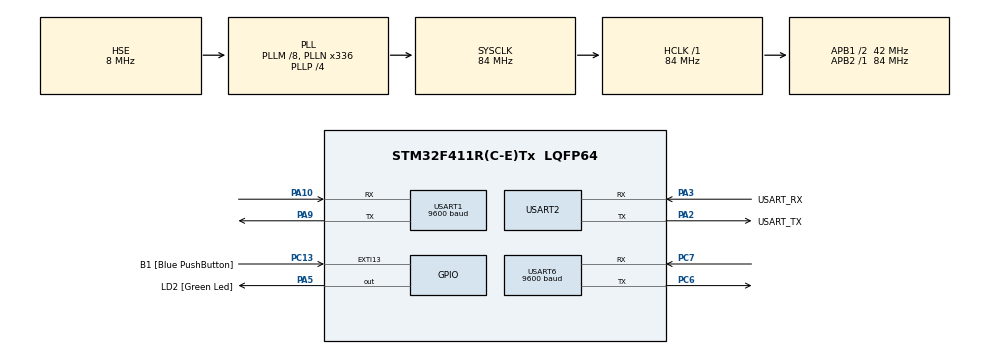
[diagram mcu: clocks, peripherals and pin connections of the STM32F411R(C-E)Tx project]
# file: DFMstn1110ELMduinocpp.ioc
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Mcu.Family=STM32F4
Mcu.Name=STM32F411R(C-E)Tx
Mcu.Package=LQFP64
NVIC.PriorityGroup=NVIC_PRIORITYGROUP_0
NVIC.USART6_IRQn=true\:0\:0\:false\:false\:true\:true\:true
PA10.Mode=Asynchronous
PA10.Signal=USART1_RX
PA13.GPIO_Label=TMS
PA13.Mode=Serial_Wire
PA13.Signal=SYS_JTMS-SWDIO
PA14.GPIO_Label=TCK
PA14.Mode=Serial_Wire
PA14.Signal=SYS_JTCK-SWCLK
PA2.GPIO_Label=USART_TX
PA2.Mode=Asynchronous
PA2.Signal=USART2_TX
PA3.GPIO_Label=USART_RX
PA3.Mode=Asynchronous
PA3.Signal=USART2_RX
PA5.GPIO_Label=LD2 [Green Led]
PA5.Signal=GPIO_Output
PA9.Mode=Asynchronous
PA9.Signal=USART1_TX
PB3.GPIO_Label=SWO
PB3.Signal=SYS_JTDO-SWO
PC13-ANTI_TAMP.GPIO_Label=B1 [Blue PushButton]
PC13-ANTI_TAMP.GPIO_ModeDefaultEXTI=GPIO_MODE_IT_FALLING
PC13-ANTI_TAMP.Signal=GPXTI13
PC14-OSC32_IN.Mode=LSE-External-Oscillator
PC14-OSC32_IN.Signal=RCC_OSC32_IN
PC15-OSC32_OUT.Mode=LSE-External-Oscillator
PC15-OSC32_OUT.Signal=RCC_OSC32_OUT
PC6.Mode=Asynchronous
PC6.Signal=USART6_TX
PC7.Mode=Asynchronous
PC7.Signal=USART6_RX
PH0\ -\ OSC_IN.Mode=HSE-External-Clock-Source
PH0\ -\ OSC_IN.Signal=RCC_OSC_IN
PH1\ -\ OSC_OUT.Mode=HSE-External-Clock-Source
PH1\ -\ OSC_OUT.Signal=RCC_OSC_OUT
ProjectManager.HeapSize=0x200
ProjectManager.StackSize=0x400
ProjectManager.TargetToolchain=STM32CubeIDE
RCC.48MHZClocksFreq_Value=84000000
RCC.AHBFreq_Value=84000000
RCC.APB1CLKDivider=RCC_HCLK_DIV2
RCC.APB1Freq_Value=42000000
RCC.APB1TimFreq_Value=84000000
RCC.APB2Freq_Value=84000000
RCC.APB2TimFreq_Value=84000000
RCC.CortexFreq_Value=84000000
RCC.FLatency-AdvancedSettings=FLASH_LATENCY_2
RCC.HCLKFreq_Value=84000000
RCC.HSE_VALUE=8000000
RCC.HSI_VALUE=16000000
RCC.PLLM=8
RCC.PLLN=336
RCC.PLLP=RCC_PLLP_DIV4
RCC.PLLSourceVirtual=RCC_PLLSOURCE_HSE
RCC.SYSCLKFreq_VALUE=84000000
RCC.SYSCLKSource=RCC_SYSCLKSOURCE_PLLCLK
RCC.VCOOutputFreq_Value=336000000
USART1.BaudRate=9600
USART1.VirtualMode=VM_ASYNC
USART2.VirtualMode=VM_ASYNC
USART6.BaudRate=9600
USART6.VirtualMode=VM_ASYNC
board=NUCLEO-F411RE

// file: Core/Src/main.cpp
/* USER CODE BEGIN Header */
/**
  ******************************************************************************
  * @file           : main.c
  * @brief          : Main program body
  ******************************************************************************
  * @attention
  *
  * <h2><center>&copy; Copyright (c) 2021 STMicroelectronics.
  * All rights reserved.</center></h2>
  *
  * This software component is licensed by ST under BSD 3-Clause license,
  * the "License"; You may not use this file except in compliance with the
  * License. You may obtain a copy of the License at:
  *                        opensource.org/licenses/BSD-3-Clause
  *
  ******************************************************************************
  */
/* USER CODE END Header */
#include "main.h"
#include "usart.h"
#include "gpio.h"

/* USER CODE BEGIN Includes */
#include "stn1110.h"
/* USER CODE END Includes */

/* USER CODE BEGIN PD */
#define cur_myELM327_STATUS curS;
#define pre_myELM327_STATUS preS;
/* USER CODE END PD */

/* USER CODE BEGIN PV */
UART_HandleTypeDef huart2;
UART_HandleTypeDef huart6;
STN1110 stn;
/* USER CODE END PV */

void SystemClock_Config(void);
/* USER CODE BEGIN PFP */
void HAL_UART_RxCpltCallback(UART_HandleTypeDef *huart)  //UART에 수신인터럽트 일어나면 이놈이 호출됨
{
 if (huart->Instance == USART6) //current UART
  {
	 stn.push(stn.rxData);
	 stn.rxFlag = true;
  }
 	 HAL_UART_Receive_IT(&huart6, &stn.rxData, 1); //다음 수신인터럽트를 준비
 }

/* USER CODE END PFP */

/* USER CODE BEGIN 0 */
uint32_t rpm = 0;
uint32_t motorrpm = 0;
uint32_t kph = 0;
uint32_t engineLoad = 0;
uint16_t runTime = 0;
uint8_t fuelType = 0;
int32_t oilTemp = 0;
uint32_t relativePedalPos = 0;
uint32_t throttle = 0;
uint32_t relativeThrottle = 0;
int32_t intakeAirTemp = 0;
uint32_t fuelLevel = 0;
float mafRate = 0; // uint32_t
uint8_t obdStandards = 0;
uint16_t distTravelWithMIL = 0;
uint16_t distSinceCodesCleared = 0;
uint32_t ctrlModVoltage = 0;
int16_t ambientAirTemp = 0;
uint32_t manifoldPressure = 0;
int32_t engineCoolantTemp = 0;
float commandedThrottleActuator = 0;
float commandedAirFuelRatio = 0.0; //stn1110 Data Variables

static uint32_t counter_AccelYp;
static uint32_t counter_Fuel;
static uint32_t counter_Energy;
static uint32_t counter_Rpm;
static uint32_t counter_MotorRpm;
static float efficiencyScore;
static uint32_t counter_AccelX;
static uint32_t counter_AccelYm;
static uint32_t counter_AccelYm2;
static uint32_t counter_Time;
static uint32_t counter_KphRpm;
static uint32_t counter_KphMotorRpm;
static uint32_t counter_Throttle;
static float safetyScore;
static float drivingScore = 10.0;
static float averagedrivingScore = 10.0;
static int counter_N1 = 1;
static int counter_N2 = 1;
static int counter_N3 = 1;
static int counter_N4 = 1;
static int counter_Idle = 0;

static float AFR = 14.70;

float pre_f_accelX;
float pre_f_accelY;
float pre_instantFuelConsume;
float pre_instantEnergyConsume;
uint32_t pre_rpm;
uint32_t pre_motorrpm;
uint32_t pre_runTime;
int32_t pre_kph;
float pre_commandedThrottleActuator;
float instantFuelConsume = 12.0;
float averageFuelConsume = 12.0;
float averagecommandedThrottleActuator = 8;
float instantEnergyConsume = 12.0;
float averageEnergyConsume = 12.0;

bool flag_aws_publish = true; //flag

char car_state[30] = "";
int pwrCheck;
int rstCheck;
bool errorvaluecheck = true;
bool mafRatecheck = false;

static uint32_t elmstatusCheck = 0;

unsigned long c_time = 0;
unsigned long e_time = 0;

int HOUR = 0;
int MIN = 0;
int SEC = 0; // 자체 시간 시,분,초

int E_HOUR = 0;
int E_MIN = 0;
int E_SEC = 0; // 자체 시간 시,분,초
/* USER CODE END 0 */

int main(void)
{

  /* MCU Configuration--------------------------------------------------------*/

  /* Reset of all peripherals, Initializes the Flash interface and the Systick. */
  HAL_Init();

  /* Configure the system clock */
  SystemClock_Config();

  /* Initialize all configured peripherals */
  MX_GPIO_Init();
  MX_USART2_UART_Init();
  MX_USART1_UART_Init();
  MX_USART6_UART_Init();
  /* USER CODE BEGIN 2 */
  stn.queue_init();
  HAL_UART_Receive_IT(&huart6, &stn.rxData, 1);

	if (!stn.begin(&huart6, true, 2000))
	{
		printf("Couldn't connect to STN1110");
	}
	printf("Connected to STN1110\r\n");
  /* USER CODE END 2 */

  /* Infinite loop */
  /* USER CODE BEGIN WHILE */
  while (1)
  {
	    static int8_t cur_myELM327_STATUS; // 현재상태 정적변수
	    static int8_t pre_myELM327_STATUS; // 이전상태 정적변수

	    c_time = millis() / 1000; //시간

	    SEC = c_time % 60;
	    MIN = (c_time / 60) % 60;
	    HOUR = (c_time / (60 * 60)) % 24;

	    curS = stn.status; //현재상태 갱신

	    switch (curS) {
	         case ELM_SUCCESS:
	         strcpy(car_state, "ELM_SUCCESS");
	         break;

	         case ELM_NO_RESPONSE:
	         strcpy(car_state, "ELM_NO_RESPONSE");
	         break;

	         case ELM_BUFFER_OVERFLOW:
	         strcpy(car_state, "ELM_BUFFER_OVERFLOW");
	         break;

	         case ELM_UNABLE_TO_CONNECT:
	         strcpy(car_state, "ELM_UNABLE_TO_CONNECT");
	         break;

	         case ELM_NO_DATA:
	         strcpy(car_state, "ELM_NO_DATA");
	         break;

	         case ELM_STOPPED:
	         strcpy(car_state, "ELM_STOPPED");
	         break;

	         case ELM_TIMEOUT:
	         strcpy(car_state, "ELM_TIMEOUT");
	         break;

	         default:
	         strcpy(car_state, "UNKNOWN_ERROR");
	       }

	    float tempRPM = stn.rpm();
	    uint32_t tempVEHICLE_SPEED = stn.kph();
	    float tempENGINE_LOAD = stn.engineLoad();
	    uint16_t tempRUN_TIME_SINCE_ENGINE_START = stn.runTime();
	    uint8_t tempFUEL_TYPE = stn.fuelType();
	    float tempENGINE_OIL_TEMP = stn.oilTemp();
	    float tempENGINE_COOLANT_TEMP = stn.engineCoolantTemp();
	    float tempRELATIVE_ACCELERATOR_PEDAL_POS = stn.relativePedalPos();
	    float tempTHROTTLE_POSITION = stn.throttle();
	    float tempCOMMANDED_THROTTLE_ACTUATOR = stn.commandedThrottleActuator();
	    float tempRELATIVE_THROTTLE_POSITION = stn.relativeThrottle();
	    float tempINTAKE_AIR_TEMP = stn.intakeAirTemp();
	    uint8_t tempINTAKE_MANIFOLD_ABS_PRESSURE = stn.manifoldPressure();
	    float tempFUEL_TANK_LEVEL_INPUT = stn.fuelLevel();
	    uint8_t tempOBD_STANDARDS = stn.obdStandards();
	    float tempCONTROL_MODULE_VOLTAGE = stn.ctrlModVoltage();
	    float tempAMBIENT_AIR_TEMP = stn.ambientAirTemp();
	    uint16_t tempDISTANCE_TRAVELED_WITH_MIL_ON = stn.distTravelWithMIL();
	    uint16_t tempDIST_TRAV_SINCE_CODES_CLEARED = stn.distSinceCodesCleared();
	    float tempMAF_FLOW_RATE = stn.mafRate();
	    float tempFUEL_AIR_MANDED_EQUIV_RATIO = stn.commandedAirFuelRatio();

	    preS = curS; // 이전상태 현재상태로 갱신

	  if (curS == ELM_SUCCESS)
	  {
		  runTime = (uint16_t)tempRUN_TIME_SINCE_ENGINE_START; //엔진켜진시점 이후 운행시간
		  fuelType = (int32_t)tempFUEL_TYPE; //사용 연료정보
		  rpm = (uint32_t)tempRPM; //차량 RPM
		  kph = (uint32_t)tempVEHICLE_SPEED; //차량속도
		  engineLoad = (uint32_t)tempENGINE_LOAD; //엔진부하
		  oilTemp = (int32_t)tempENGINE_OIL_TEMP; //오일온도
		  engineCoolantTemp = (int32_t)tempENGINE_COOLANT_TEMP; //엔진 냉각수 온도
		  relativePedalPos = (uint32_t)tempRELATIVE_ACCELERATOR_PEDAL_POS;
		  throttle = (uint32_t)tempTHROTTLE_POSITION; //스로틀 포지션
		  relativeThrottle = (uint32_t)tempRELATIVE_THROTTLE_POSITION; //상대 스로틀 포지션
		  commandedThrottleActuator = (float)tempCOMMANDED_THROTTLE_ACTUATOR; //스로틀 엑츄에이터
		  intakeAirTemp = (int32_t)tempINTAKE_AIR_TEMP; //흡입공기 온도
		  mafRate = (float)tempMAF_FLOW_RATE; //공기유량
		  manifoldPressure = (uint8_t)tempINTAKE_MANIFOLD_ABS_PRESSURE; //흡기매니폴드 절대압력
		  ambientAirTemp = (int16_t)tempAMBIENT_AIR_TEMP; //외기온도
		  distTravelWithMIL = (uint16_t)tempDISTANCE_TRAVELED_WITH_MIL_ON; //경고등 점등이후 주행거리
		  distSinceCodesCleared = (uint16_t)tempDIST_TRAV_SINCE_CODES_CLEARED; //DTC 소거후 주행거리
		  fuelLevel = (uint32_t)tempFUEL_TANK_LEVEL_INPUT; //연료레벨
		  ctrlModVoltage = (uint32_t)tempCONTROL_MODULE_VOLTAGE; //컨트롤 모듈 전압
		  obdStandards = (uint8_t)tempOBD_STANDARDS; //OBD 정보 - 수치값 wikipedia 검색
		  commandedAirFuelRatio = (float)tempFUEL_AIR_MANDED_EQUIV_RATIO;
	   	  printf("RPM :");
	 	  printf("%lu\r\n", rpm);
 	  }

	  else
		  stn.printError(curS);
    /* USER CODE END WHILE */

  }
}

void SystemClock_Config(void)
{
  RCC_OscInitTypeDef RCC_OscInitStruct = {0};
  RCC_ClkInitTypeDef RCC_ClkInitStruct = {0};

  /** Configure the main internal regulator output voltage
  */
  __HAL_RCC_PWR_CLK_ENABLE();
  __HAL_PWR_VOLTAGESCALING_CONFIG(PWR_REGULATOR_VOLTAGE_SCALE1);
  /** Initializes the RCC Oscillators according to the specified parameters
  * in the RCC_OscInitTypeDef structure.
  */
  RCC_OscInitStruct.OscillatorType = RCC_OSCILLATORTYPE_HSE;
  RCC_OscInitStruct.HSEState = RCC_HSE_BYPASS;
  RCC_OscInitStruct.PLL.PLLState = RCC_PLL_ON;
  RCC_OscInitStruct.PLL.PLLSource = RCC_PLLSOURCE_HSE;
  RCC_OscInitStruct.PLL.PLLM = 8;
  RCC_OscInitStruct.PLL.PLLN = 336;
  RCC_OscInitStruct.PLL.PLLP = RCC_PLLP_DIV4;
  RCC_OscInitStruct.PLL.PLLQ = 4;
  if (HAL_RCC_OscConfig(&RCC_OscInitStruct) != HAL_OK)
  {
    Error_Handler();
  }
  /** Initializes the CPU, AHB and APB buses clocks
  */
  RCC_ClkInitStruct.ClockType = RCC_CLOCKTYPE_HCLK|RCC_CLOCKTYPE_SYSCLK
                              |RCC_CLOCKTYPE_PCLK1|RCC_CLOCKTYPE_PCLK2;
  RCC_ClkInitStruct.SYSCLKSource = RCC_SYSCLKSOURCE_PLLCLK;
  RCC_ClkInitStruct.AHBCLKDivider = RCC_SYSCLK_DIV1;
  RCC_ClkInitStruct.APB1CLKDivider = RCC_HCLK_DIV2;
  RCC_ClkInitStruct.APB2CLKDivider = RCC_HCLK_DIV1;

  if (HAL_RCC_ClockConfig(&RCC_ClkInitStruct, FLASH_LATENCY_2) != HAL_OK)
  {
    Error_Handler();
  }
}

void Error_Handler(void)
{
  __disable_irq();
  while (1)
  {
  }
}

/************************ (C) COPYRIGHT STMicroelectronics *****END OF FILE****/
